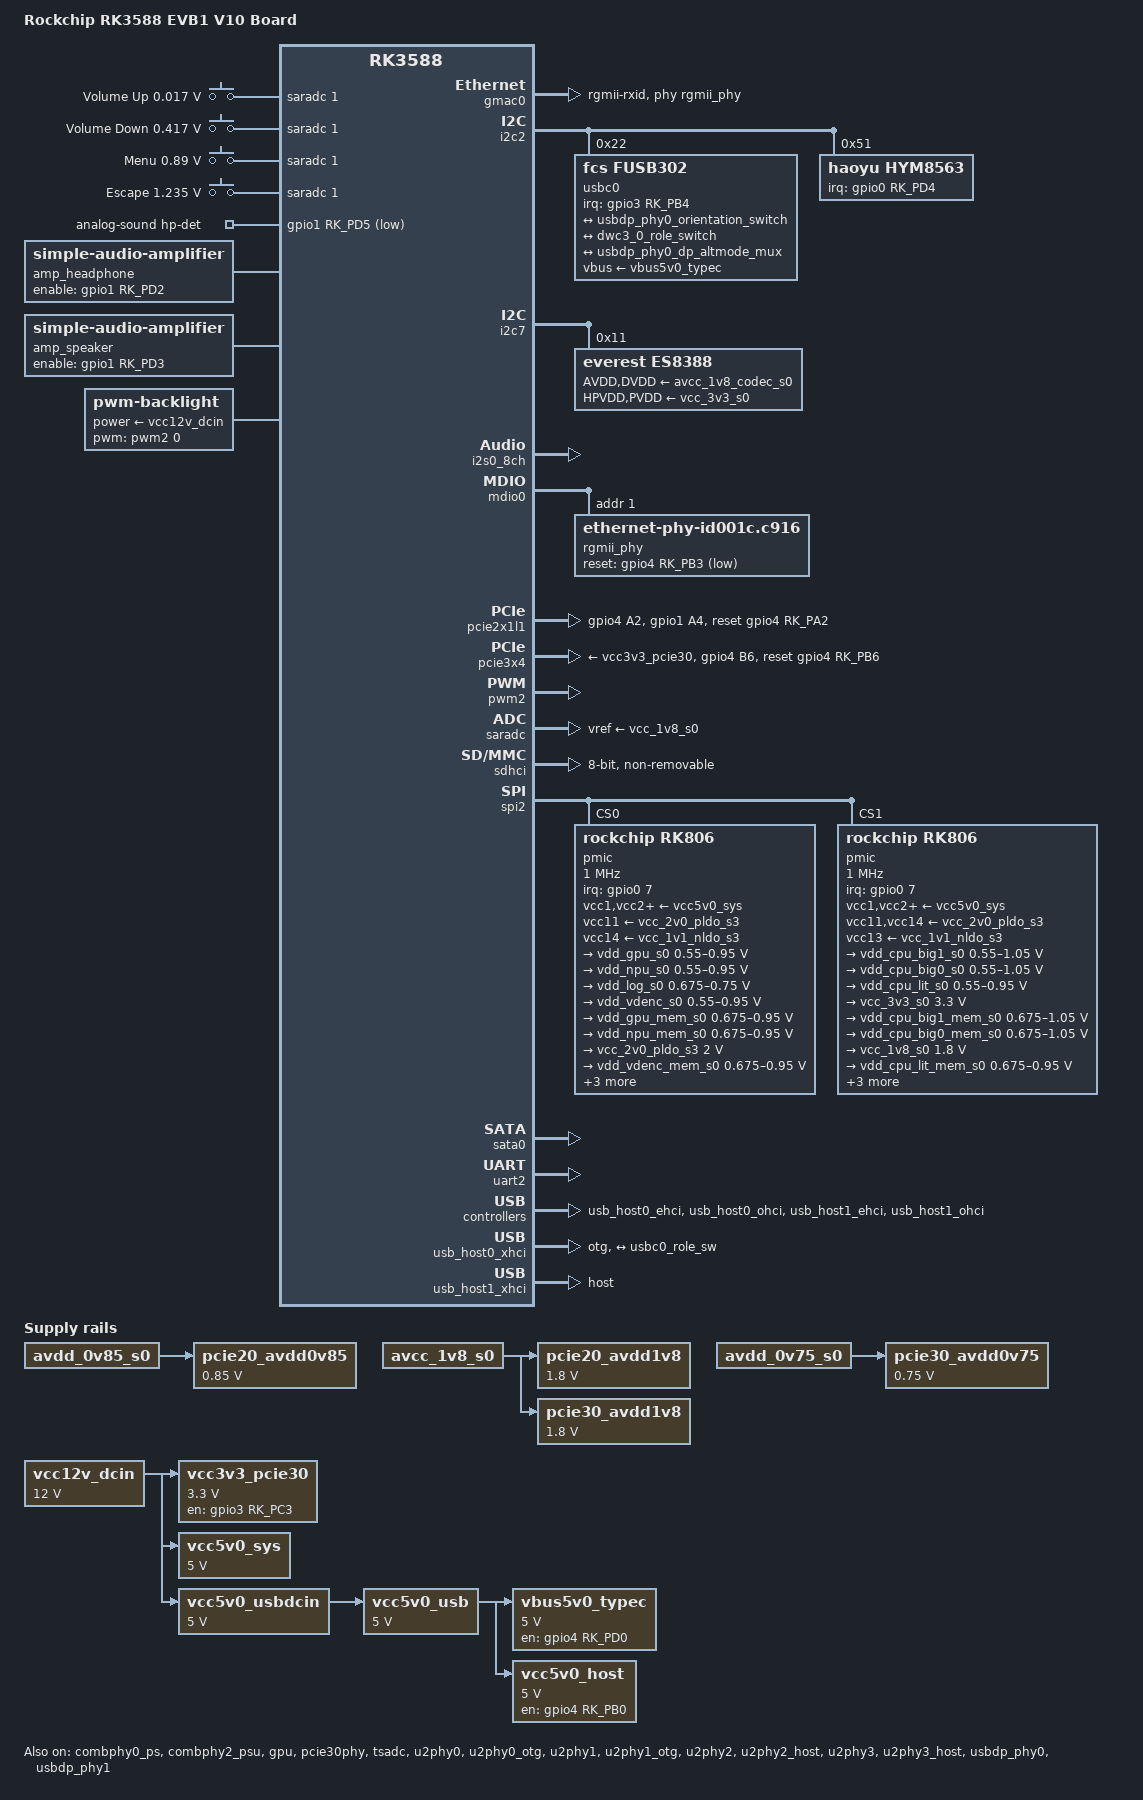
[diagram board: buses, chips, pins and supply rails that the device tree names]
// SPDX-License-Identifier: (GPL-2.0+ OR MIT)
/*
 * Copyright (c) 2021 Rockchip Electronics Co., Ltd.
 *
 */

/dts-v1/;

#include <dt-bindings/gpio/gpio.h>
#include <dt-bindings/input/input.h>
#include <dt-bindings/pinctrl/rockchip.h>
#include <dt-bindings/usb/pd.h>
#include "rk3588.dtsi"

/ {
	model = "Rockchip RK3588 EVB1 V10 Board";
	compatible = "rockchip,rk3588-evb1-v10", "rockchip,rk3588";

	aliases {
		ethernet0 = &gmac0;
		mmc0 = &sdhci;
	};

	chosen {
		stdout-path = "serial2:1500000n8";
	};

	adc-keys {
		compatible = "adc-keys";
		io-channels = <&saradc 1>;
		io-channel-names = "buttons";
		keyup-threshold-microvolt = <1800000>;
		poll-interval = <100>;

		button-vol-up {
			label = "Volume Up";
			linux,code = <KEY_VOLUMEUP>;
			press-threshold-microvolt = <17000>;
		};

		button-vol-down {
			label = "Volume Down";
			linux,code = <KEY_VOLUMEDOWN>;
			press-threshold-microvolt = <417000>;
		};

		button-menu {
			label = "Menu";
			linux,code = <KEY_MENU>;
			press-threshold-microvolt = <890000>;
		};

		button-escape {
			label = "Escape";
			linux,code = <KEY_ESC>;
			press-threshold-microvolt = <1235000>;
		};
	};

	analog-sound {
		compatible = "simple-audio-card";
		pinctrl-names = "default";
		pinctrl-0 = <&hp_detect>;
		simple-audio-card,name = "RK3588 EVB1 Audio";
		simple-audio-card,aux-devs = <&amp_headphone>, <&amp_speaker>;
		simple-audio-card,bitclock-master = <&masterdai>;
		simple-audio-card,format = "i2s";
		simple-audio-card,frame-master = <&masterdai>;
		simple-audio-card,hp-det-gpio = <&gpio1 RK_PD5 GPIO_ACTIVE_LOW>;
		simple-audio-card,mclk-fs = <256>;
		simple-audio-card,pin-switches = "Headphones", "Speaker";
		simple-audio-card,routing =
			"Speaker Amplifier INL", "LOUT2",
			"Speaker Amplifier INR", "ROUT2",
			"Speaker", "Speaker Amplifier OUTL",
			"Speaker", "Speaker Amplifier OUTR",
			"Headphones Amplifier INL", "LOUT1",
			"Headphones Amplifier INR", "ROUT1",
			"Headphones", "Headphones Amplifier OUTL",
			"Headphones", "Headphones Amplifier OUTR",
			"LINPUT1", "Onboard Microphone",
			"RINPUT1", "Onboard Microphone",
			"LINPUT2", "Microphone Jack",
			"RINPUT2", "Microphone Jack";
		simple-audio-card,widgets =
			"Microphone", "Microphone Jack",
			"Microphone", "Onboard Microphone",
			"Headphone", "Headphones",
			"Speaker", "Speaker";

		simple-audio-card,cpu {
			sound-dai = <&i2s0_8ch>;
		};

		masterdai: simple-audio-card,codec {
			sound-dai = <&es8388>;
			system-clock-frequency = <12288000>;
		};
	};

	amp_headphone: headphone-amplifier {
		compatible = "simple-audio-amplifier";
		enable-gpios = <&gpio1 RK_PD2 GPIO_ACTIVE_HIGH>;
		pinctrl-names = "default";
		pinctrl-0 = <&headphone_amplifier_en>;
		sound-name-prefix = "Headphones Amplifier";
	};

	amp_speaker: speaker-amplifier {
		compatible = "simple-audio-amplifier";
		enable-gpios = <&gpio1 RK_PD3 GPIO_ACTIVE_HIGH>;
		pinctrl-names = "default";
		pinctrl-0 = <&speaker_amplifier_en>;
		sound-name-prefix = "Speaker Amplifier";
	};

	backlight: backlight {
		compatible = "pwm-backlight";
		power-supply = <&vcc12v_dcin>;
		pwms = <&pwm2 0 25000 0>;
	};

	pcie20_avdd0v85: pcie20-avdd0v85-regulator {
		compatible = "regulator-fixed";
		regulator-name = "pcie20_avdd0v85";
		regulator-always-on;
		regulator-boot-on;
		regulator-min-microvolt = <850000>;
		regulator-max-microvolt = <850000>;
		vin-supply = <&avdd_0v85_s0>;
	};

	pcie20_avdd1v8: pcie20-avdd1v8-regulator {
		compatible = "regulator-fixed";
		regulator-name = "pcie20_avdd1v8";
		regulator-always-on;
		regulator-boot-on;
		regulator-min-microvolt = <1800000>;
		regulator-max-microvolt = <1800000>;
		vin-supply = <&avcc_1v8_s0>;
	};

	pcie30_avdd0v75: pcie30-avdd0v75-regulator {
		compatible = "regulator-fixed";
		regulator-name = "pcie30_avdd0v75";
		regulator-always-on;
		regulator-boot-on;
		regulator-min-microvolt = <750000>;
		regulator-max-microvolt = <750000>;
		vin-supply = <&avdd_0v75_s0>;
	};

	pcie30_avdd1v8: pcie30-avdd1v8-regulator {
		compatible = "regulator-fixed";
		regulator-name = "pcie30_avdd1v8";
		regulator-always-on;
		regulator-boot-on;
		regulator-min-microvolt = <1800000>;
		regulator-max-microvolt = <1800000>;
		vin-supply = <&avcc_1v8_s0>;
	};

	vbus5v0_typec: vbus5v0-typec-regulator {
		compatible = "regulator-fixed";
		enable-active-high;
		gpio = <&gpio4 RK_PD0 GPIO_ACTIVE_HIGH>;
		pinctrl-names = "default";
		pinctrl-0 = <&typec5v_pwren>;
		regulator-name = "vbus5v0_typec";
		regulator-min-microvolt = <5000000>;
		regulator-max-microvolt = <5000000>;
		vin-supply = <&vcc5v0_usb>;
	};

	vcc12v_dcin: vcc12v-dcin-regulator {
		compatible = "regulator-fixed";
		regulator-name = "vcc12v_dcin";
		regulator-always-on;
		regulator-boot-on;
		regulator-min-microvolt = <12000000>;
		regulator-max-microvolt = <12000000>;
	};

	vcc3v3_pcie30: vcc3v3-pcie30-regulator {
		compatible = "regulator-fixed";
		regulator-name = "vcc3v3_pcie30";
		regulator-min-microvolt = <3300000>;
		regulator-max-microvolt = <3300000>;
		enable-active-high;
		gpios = <&gpio3 RK_PC3 GPIO_ACTIVE_HIGH>;
		startup-delay-us = <5000>;
		vin-supply = <&vcc12v_dcin>;
		pinctrl-names = "default";
		pinctrl-0 = <&vcc3v3_pcie30_en>;
	};

	vcc5v0_host: vcc5v0-host-regulator {
		compatible = "regulator-fixed";
		regulator-name = "vcc5v0_host";
		regulator-boot-on;
		regulator-always-on;
		regulator-min-microvolt = <5000000>;
		regulator-max-microvolt = <5000000>;
		enable-active-high;
		gpio = <&gpio4 RK_PB0 GPIO_ACTIVE_HIGH>;
		pinctrl-names = "default";
		pinctrl-0 = <&vcc5v0_host_en>;
		vin-supply = <&vcc5v0_usb>;
	};

	vcc5v0_sys: vcc5v0-sys-regulator {
		compatible = "regulator-fixed";
		regulator-name = "vcc5v0_sys";
		regulator-always-on;
		regulator-boot-on;
		regulator-min-microvolt = <5000000>;
		regulator-max-microvolt = <5000000>;
		vin-supply = <&vcc12v_dcin>;
	};

	vcc5v0_usbdcin: vcc5v0-usbdcin-regulator {
		compatible = "regulator-fixed";
		regulator-name = "vcc5v0_usbdcin";
		regulator-always-on;
		regulator-boot-on;
		regulator-min-microvolt = <5000000>;
		regulator-max-microvolt = <5000000>;
		vin-supply = <&vcc12v_dcin>;
	};

	vcc5v0_usb: vcc5v0-usb-regulator {
		compatible = "regulator-fixed";
		regulator-name = "vcc5v0_usb";
		regulator-always-on;
		regulator-boot-on;
		regulator-min-microvolt = <5000000>;
		regulator-max-microvolt = <5000000>;
		vin-supply = <&vcc5v0_usbdcin>;
	};
};

&combphy0_ps {
	status = "okay";
};

&combphy2_psu {
	status = "okay";
};

&cpu_b0 {
	cpu-supply = <&vdd_cpu_big0_s0>;
};

&cpu_b1 {
	cpu-supply = <&vdd_cpu_big0_s0>;
};

&cpu_b2 {
	cpu-supply = <&vdd_cpu_big1_s0>;
};

&cpu_b3 {
	cpu-supply = <&vdd_cpu_big1_s0>;
};

&cpu_l0 {
	cpu-supply = <&vdd_cpu_lit_s0>;
};

&cpu_l1 {
	cpu-supply = <&vdd_cpu_lit_s0>;
};

&cpu_l2 {
	cpu-supply = <&vdd_cpu_lit_s0>;
};

&cpu_l3 {
	cpu-supply = <&vdd_cpu_lit_s0>;
};

&gmac0 {
	clock_in_out = "output";
	phy-handle = <&rgmii_phy>;
	phy-mode = "rgmii-rxid";
	pinctrl-0 = <&gmac0_miim
		     &gmac0_tx_bus2
		     &gmac0_rx_bus2
		     &gmac0_rgmii_clk
		     &gmac0_rgmii_bus>;
	pinctrl-names = "default";
	rx_delay = <0x00>;
	tx_delay = <0x43>;
	status = "okay";
};

&gpu {
	mali-supply = <&vdd_gpu_s0>;
	sram-supply = <&vdd_gpu_mem_s0>;
	status = "okay";
};

&i2c2 {
	status = "okay";

	usbc0: usb-typec@22 {
		compatible = "fcs,fusb302";
		reg = <0x22>;
		interrupt-parent = <&gpio3>;
		interrupts = <RK_PB4 IRQ_TYPE_LEVEL_LOW>;
		pinctrl-names = "default";
		pinctrl-0 = <&usbc0_int>;
		vbus-supply = <&vbus5v0_typec>;
		status = "okay";

		usb_con: connector {
			compatible = "usb-c-connector";
			label = "USB-C";
			data-role = "dual";
			op-sink-microwatt = <1000000>;
			power-role = "dual";
			sink-pdos =
				<PDO_FIXED(5000, 1000, PDO_FIXED_USB_COMM)>;
			source-pdos =
				<PDO_FIXED(5000, 3000, PDO_FIXED_USB_COMM)>;
			try-power-role = "source";

			ports {
				#address-cells = <1>;
				#size-cells = <0>;

				port@0 {
					reg = <0>;

					usbc0_orien_sw: endpoint {
						remote-endpoint = <&usbdp_phy0_orientation_switch>;
					};
				};

				port@1 {
					reg = <1>;

					usbc0_role_sw: endpoint {
						remote-endpoint = <&dwc3_0_role_switch>;
					};
				};

				port@2 {
					reg = <2>;

					dp_altmode_mux: endpoint {
						remote-endpoint = <&usbdp_phy0_dp_altmode_mux>;
					};
				};
			};
		};
	};

	hym8563: rtc@51 {
		compatible = "haoyu,hym8563";
		reg = <0x51>;
		#clock-cells = <0>;
		clock-output-names = "hym8563";
		pinctrl-names = "default";
		pinctrl-0 = <&hym8563_int>;
		interrupt-parent = <&gpio0>;
		interrupts = <RK_PD4 IRQ_TYPE_LEVEL_LOW>;
		wakeup-source;
	};
};

&i2c7 {
	status = "okay";

	es8388: audio-codec@11 {
		compatible = "everest,es8388";
		reg = <0x11>;
		clocks = <&cru I2S0_8CH_MCLKOUT>;
		assigned-clocks = <&cru I2S0_8CH_MCLKOUT>;
		assigned-clock-rates = <12288000>;
		AVDD-supply = <&avcc_1v8_codec_s0>;
		DVDD-supply = <&avcc_1v8_codec_s0>;
		HPVDD-supply = <&vcc_3v3_s0>;
		PVDD-supply = <&vcc_3v3_s0>;
		#sound-dai-cells = <0>;
	};
};

&i2s0_8ch {
	pinctrl-0 = <&i2s0_lrck
		     &i2s0_mclk
		     &i2s0_sclk
		     &i2s0_sdi0
		     &i2s0_sdo0>;
	status = "okay";
};

&mdio0 {
	rgmii_phy: ethernet-phy@1 {
		/* RTL8211F */
		compatible = "ethernet-phy-id001c.c916";
		reg = <0x1>;
		pinctrl-names = "default";
		pinctrl-0 = <&rtl8211f_rst>;
		reset-assert-us = <20000>;
		reset-deassert-us = <100000>;
		reset-gpios = <&gpio4 RK_PB3 GPIO_ACTIVE_LOW>;
	};
};

&pcie2x1l1 {
	reset-gpios = <&gpio4 RK_PA2 GPIO_ACTIVE_HIGH>;
	pinctrl-names = "default";
	pinctrl-0 = <&pcie2_1_rst>, <&rtl8111_isolate>;
	status = "okay";
};

&pcie30phy {
	status = "okay";
};

&pcie3x4 {
	pinctrl-names = "default";
	pinctrl-0 = <&pcie3_reset>;
	reset-gpios = <&gpio4 RK_PB6 GPIO_ACTIVE_HIGH>;
	vpcie3v3-supply = <&vcc3v3_pcie30>;
	status = "okay";
};

&pinctrl {
	audio {
		hp_detect: headphone-detect {
			rockchip,pins = <1 RK_PD5 RK_FUNC_GPIO &pcfg_pull_none>;
		};

		headphone_amplifier_en: headphone-amplifier-en {
			rockchip,pins = <1 RK_PD2 RK_FUNC_GPIO &pcfg_pull_none>;
		};

		speaker_amplifier_en: speaker-amplifier-en {
			rockchip,pins = <1 RK_PD3 RK_FUNC_GPIO &pcfg_pull_none>;
		};
	};

	rtl8111 {
		rtl8111_isolate: rtl8111-isolate {
			rockchip,pins = <1 RK_PA4 RK_FUNC_GPIO &pcfg_pull_up>;
		};
	};

	rtl8211f {
		rtl8211f_rst: rtl8211f-rst {
			rockchip,pins = <4 RK_PB3 RK_FUNC_GPIO &pcfg_pull_none>;
		};

	};

	hym8563 {
		hym8563_int: hym8563-int {
			rockchip,pins = <0 RK_PD4 RK_FUNC_GPIO &pcfg_pull_up>;
		};
	};

	pcie2 {
		pcie2_1_rst: pcie2-1-rst {
			rockchip,pins = <4 RK_PA2 RK_FUNC_GPIO &pcfg_pull_none>;
		};
	};

	pcie3 {
		pcie3_reset: pcie3-reset {
			rockchip,pins = <4 RK_PB6 RK_FUNC_GPIO &pcfg_pull_none>;
		};

		vcc3v3_pcie30_en: vcc3v3-pcie30-en {
			rockchip,pins = <3 RK_PC3 RK_FUNC_GPIO &pcfg_pull_none>;
		};
	};

	usb {
		vcc5v0_host_en: vcc5v0-host-en {
			rockchip,pins = <4 RK_PB0 RK_FUNC_GPIO &pcfg_pull_none>;
		};
	};

	usb-typec {
		typec5v_pwren: typec5v-pwren {
			rockchip,pins = <4 RK_PD0 RK_FUNC_GPIO &pcfg_pull_none>;
		};

		usbc0_int: usbc0-int {
			rockchip,pins = <3 RK_PB4 RK_FUNC_GPIO &pcfg_pull_up>;
		};
	};
};

&pwm2 {
	status = "okay";
};

&saradc {
	vref-supply = <&vcc_1v8_s0>;
	status = "okay";
};

&sdhci {
	bus-width = <8>;
	no-sdio;
	no-sd;
	non-removable;
	mmc-hs400-1_8v;
	mmc-hs400-enhanced-strobe;
	status = "okay";
};

&spi2 {
	status = "okay";
	assigned-clocks = <&cru CLK_SPI2>;
	assigned-clock-rates = <200000000>;
	num-cs = <2>;

	pmic@0 {
		compatible = "rockchip,rk806";
		reg = <0x0>;
		#gpio-cells = <2>;
		gpio-controller;
		interrupt-parent = <&gpio0>;
		interrupts = <7 IRQ_TYPE_LEVEL_LOW>;
		pinctrl-0 = <&pmic_pins>, <&rk806_dvs1_null>,
			    <&rk806_dvs2_null>, <&rk806_dvs3_null>;
		pinctrl-names = "default";
		spi-max-frequency = <1000000>;
		system-power-controller;

		vcc1-supply = <&vcc5v0_sys>;
		vcc2-supply = <&vcc5v0_sys>;
		vcc3-supply = <&vcc5v0_sys>;
		vcc4-supply = <&vcc5v0_sys>;
		vcc5-supply = <&vcc5v0_sys>;
		vcc6-supply = <&vcc5v0_sys>;
		vcc7-supply = <&vcc5v0_sys>;
		vcc8-supply = <&vcc5v0_sys>;
		vcc9-supply = <&vcc5v0_sys>;
		vcc10-supply = <&vcc5v0_sys>;
		vcc11-supply = <&vcc_2v0_pldo_s3>;
		vcc12-supply = <&vcc5v0_sys>;
		vcc13-supply = <&vcc5v0_sys>;
		vcc14-supply = <&vcc_1v1_nldo_s3>;
		vcca-supply = <&vcc5v0_sys>;

		rk806_dvs1_null: dvs1-null-pins {
			pins = "gpio_pwrctrl1";
			function = "pin_fun0";
		};

		rk806_dvs2_null: dvs2-null-pins {
			pins = "gpio_pwrctrl2";
			function = "pin_fun0";
		};

		rk806_dvs3_null: dvs3-null-pins {
			pins = "gpio_pwrctrl3";
			function = "pin_fun0";
		};


		regulators {
			vdd_gpu_s0: dcdc-reg1 {
				/* regulator coupling requires always-on */
				regulator-always-on;
				regulator-boot-on;
				regulator-min-microvolt = <550000>;
				regulator-max-microvolt = <950000>;
				regulator-ramp-delay = <12500>;
				regulator-name = "vdd_gpu_s0";
				regulator-enable-ramp-delay = <400>;
				regulator-coupled-with = <&vdd_gpu_mem_s0>;
				regulator-coupled-max-spread = <10000>;
				regulator-state-mem {
					regulator-off-in-suspend;
				};
			};

			vdd_npu_s0: dcdc-reg2 {
				regulator-always-on;
				regulator-boot-on;
				regulator-min-microvolt = <550000>;
				regulator-max-microvolt = <950000>;
				regulator-ramp-delay = <12500>;
				regulator-name = "vdd_npu_s0";
				regulator-state-mem {
					regulator-off-in-suspend;
				};
			};

			vdd_log_s0: dcdc-reg3 {
				regulator-always-on;
				regulator-boot-on;
				regulator-min-microvolt = <675000>;
				regulator-max-microvolt = <750000>;
				regulator-ramp-delay = <12500>;
				regulator-name = "vdd_log_s0";
				regulator-state-mem {
					regulator-off-in-suspend;
					regulator-suspend-microvolt = <750000>;
				};
			};

			vdd_vdenc_s0: dcdc-reg4 {
				regulator-always-on;
				regulator-boot-on;
				regulator-min-microvolt = <550000>;
				regulator-max-microvolt = <950000>;
				regulator-ramp-delay = <12500>;
				regulator-name = "vdd_vdenc_s0";
				regulator-state-mem {
					regulator-off-in-suspend;
				};

			};

			vdd_gpu_mem_s0: dcdc-reg5 {
				/* regulator coupling requires always-on */
				regulator-always-on;
				regulator-boot-on;
				regulator-min-microvolt = <675000>;
				regulator-max-microvolt = <950000>;
				regulator-ramp-delay = <12500>;
				regulator-enable-ramp-delay = <400>;
				regulator-name = "vdd_gpu_mem_s0";
				regulator-coupled-with = <&vdd_gpu_s0>;
				regulator-coupled-max-spread = <10000>;
				regulator-state-mem {
					regulator-off-in-suspend;
				};

			};

			vdd_npu_mem_s0: dcdc-reg6 {
				regulator-always-on;
				regulator-boot-on;
				regulator-min-microvolt = <675000>;
				regulator-max-microvolt = <950000>;
				regulator-ramp-delay = <12500>;
				regulator-name = "vdd_npu_mem_s0";
				regulator-state-mem {
					regulator-off-in-suspend;
				};

			};

			vcc_2v0_pldo_s3: dcdc-reg7 {
				regulator-always-on;
				regulator-boot-on;
				regulator-min-microvolt = <2000000>;
				regulator-max-microvolt = <2000000>;
				regulator-ramp-delay = <12500>;
				regulator-name = "vdd_2v0_pldo_s3";
				regulator-state-mem {
					regulator-on-in-suspend;
					regulator-suspend-microvolt = <2000000>;
				};
			};

			vdd_vdenc_mem_s0: dcdc-reg8 {
				regulator-always-on;
				regulator-boot-on;
				regulator-min-microvolt = <675000>;
				regulator-max-microvolt = <950000>;
				regulator-ramp-delay = <12500>;
				regulator-name = "vdd_vdenc_mem_s0";
				regulator-state-mem {
					regulator-off-in-suspend;
				};
			};

			vdd2_ddr_s3: dcdc-reg9 {
				regulator-always-on;
				regulator-boot-on;
				regulator-name = "vdd2_ddr_s3";
				regulator-state-mem {
					regulator-on-in-suspend;
				};
			};

			vcc_1v1_nldo_s3: dcdc-reg10 {
				regulator-always-on;
				regulator-boot-on;
				regulator-min-microvolt = <1100000>;
				regulator-max-microvolt = <1100000>;
				regulator-ramp-delay = <12500>;
				regulator-name = "vcc_1v1_nldo_s3";
				regulator-state-mem {
					regulator-on-in-suspend;
					regulator-suspend-microvolt = <1100000>;
				};
			};

			avcc_1v8_s0: pldo-reg1 {
				regulator-always-on;
				regulator-boot-on;
				regulator-min-microvolt = <1800000>;
				regulator-max-microvolt = <1800000>;
				regulator-ramp-delay = <12500>;
				regulator-name = "avcc_1v8_s0";
				regulator-state-mem {
					regulator-off-in-suspend;
				};
			};

			vdd1_1v8_ddr_s3: pldo-reg2 {
				regulator-always-on;
				regulator-boot-on;
				regulator-min-microvolt = <1800000>;
				regulator-max-microvolt = <1800000>;
				regulator-ramp-delay = <12500>;
				regulator-name = "vdd1_1v8_ddr_s3";
				regulator-state-mem {
					regulator-on-in-suspend;
					regulator-suspend-microvolt = <1800000>;
				};
			};

			avcc_1v8_codec_s0: pldo-reg3 {
				regulator-always-on;
				regulator-boot-on;
				regulator-min-microvolt = <1800000>;
				regulator-max-microvolt = <1800000>;
				regulator-ramp-delay = <12500>;
				regulator-name = "avcc_1v8_codec_s0";
				regulator-state-mem {
					regulator-off-in-suspend;
				};
			};

			vcc_3v3_s3: pldo-reg4 {
				regulator-always-on;
				regulator-boot-on;
				regulator-min-microvolt = <3300000>;
				regulator-max-microvolt = <3300000>;
				regulator-ramp-delay = <12500>;
				regulator-name = "vcc_3v3_s3";
				regulator-state-mem {
					regulator-on-in-suspend;
					regulator-suspend-microvolt = <3300000>;
				};
			};

			vccio_sd_s0: pldo-reg5 {
				regulator-always-on;
				regulator-boot-on;
				regulator-min-microvolt = <1800000>;
				regulator-max-microvolt = <3300000>;
				regulator-ramp-delay = <12500>;
				regulator-name = "vccio_sd_s0";
				regulator-state-mem {
					regulator-off-in-suspend;
				};
			};

			vccio_1v8_s3: pldo-reg6 {
				regulator-always-on;
				regulator-boot-on;
				regulator-min-microvolt = <1800000>;
				regulator-max-microvolt = <1800000>;
				regulator-ramp-delay = <12500>;
				regulator-name = "vccio_1v8_s3";
				regulator-state-mem {
					regulator-on-in-suspend;
					regulator-suspend-microvolt = <1800000>;
				};
			};

			vdd_0v75_s3: nldo-reg1 {
				regulator-always-on;
				regulator-boot-on;
				regulator-min-microvolt = <750000>;
				regulator-max-microvolt = <750000>;
				regulator-ramp-delay = <12500>;
				regulator-name = "vdd_0v75_s3";
				regulator-state-mem {
					regulator-on-in-suspend;
					regulator-suspend-microvolt = <750000>;
				};
			};

			vdd2l_0v9_ddr_s3: nldo-reg2 {
				regulator-always-on;
				regulator-boot-on;
				regulator-min-microvolt = <900000>;
				regulator-max-microvolt = <900000>;
				regulator-name = "vdd2l_0v9_ddr_s3";
				regulator-state-mem {
					regulator-on-in-suspend;
					regulator-suspend-microvolt = <900000>;
				};
			};

			vdd_0v75_hdmi_edp_s0: nldo-reg3 {
				regulator-always-on;
				regulator-boot-on;
				regulator-min-microvolt = <750000>;
				regulator-max-microvolt = <750000>;
				regulator-name = "vdd_0v75_hdmi_edp_s0";
				regulator-state-mem {
					regulator-off-in-suspend;
				};
			};

			avdd_0v75_s0: nldo-reg4 {
				regulator-always-on;
				regulator-boot-on;
				regulator-min-microvolt = <750000>;
				regulator-max-microvolt = <750000>;
				regulator-name = "avdd_0v75_s0";
				regulator-state-mem {
					regulator-off-in-suspend;
				};
			};

			vdd_0v85_s0: nldo-reg5 {
				regulator-always-on;
				regulator-boot-on;
				regulator-min-microvolt = <850000>;
				regulator-max-microvolt = <850000>;
				regulator-name = "vdd_0v85_s0";
				regulator-state-mem {
					regulator-off-in-suspend;
				};
			};
		};
	};

	pmic@1 {
		compatible = "rockchip,rk806";
		reg = <0x01>;
		#gpio-cells = <2>;
		gpio-controller;
		interrupt-parent = <&gpio0>;
		interrupts = <7 IRQ_TYPE_LEVEL_LOW>;
		pinctrl-0 = <&rk806_slave_dvs1_null>, <&rk806_slave_dvs2_null>,
			    <&rk806_slave_dvs3_null>;
		pinctrl-names = "default";
		spi-max-frequency = <1000000>;

		vcc1-supply = <&vcc5v0_sys>;
		vcc2-supply = <&vcc5v0_sys>;
		vcc3-supply = <&vcc5v0_sys>;
		vcc4-supply = <&vcc5v0_sys>;
		vcc5-supply = <&vcc5v0_sys>;
		vcc6-supply = <&vcc5v0_sys>;
		vcc7-supply = <&vcc5v0_sys>;
		vcc8-supply = <&vcc5v0_sys>;
		vcc9-supply = <&vcc5v0_sys>;
		vcc10-supply = <&vcc5v0_sys>;
		vcc11-supply = <&vcc_2v0_pldo_s3>;
		vcc12-supply = <&vcc5v0_sys>;
		vcc13-supply = <&vcc_1v1_nldo_s3>;
		vcc14-supply = <&vcc_2v0_pldo_s3>;
		vcca-supply = <&vcc5v0_sys>;

		rk806_slave_dvs1_null: dvs1-null-pins {
			pins = "gpio_pwrctrl1";
			function = "pin_fun0";
		};

		rk806_slave_dvs2_null: dvs2-null-pins {
			pins = "gpio_pwrctrl2";
			function = "pin_fun0";
		};

		rk806_slave_dvs3_null: dvs3-null-pins {
			pins = "gpio_pwrctrl3";
			function = "pin_fun0";
		};

		regulators {
			vdd_cpu_big1_s0: dcdc-reg1 {
				regulator-always-on;
				regulator-boot-on;
				regulator-coupled-with = <&vdd_cpu_big1_mem_s0>;
				regulator-coupled-max-spread = <10000>;
				regulator-min-microvolt = <550000>;
				regulator-max-microvolt = <1050000>;
				regulator-ramp-delay = <12500>;
				regulator-name = "vdd_cpu_big1_s0";
				regulator-state-mem {
					regulator-off-in-suspend;
				};
			};

			vdd_cpu_big0_s0: dcdc-reg2 {
				regulator-always-on;
				regulator-boot-on;
				regulator-coupled-with = <&vdd_cpu_big0_mem_s0>;
				regulator-coupled-max-spread = <10000>;
				regulator-min-microvolt = <550000>;
				regulator-max-microvolt = <1050000>;
				regulator-ramp-delay = <12500>;
				regulator-name = "vdd_cpu_big0_s0";
				regulator-state-mem {
					regulator-off-in-suspend;
				};
			};

			vdd_cpu_lit_s0: dcdc-reg3 {
				regulator-always-on;
				regulator-boot-on;
				regulator-coupled-with = <&vdd_cpu_lit_mem_s0>;
				regulator-coupled-max-spread = <10000>;
				regulator-min-microvolt = <550000>;
				regulator-max-microvolt = <950000>;
				regulator-ramp-delay = <12500>;
				regulator-name = "vdd_cpu_lit_s0";
				regulator-state-mem {
					regulator-off-in-suspend;
				};
			};

			vcc_3v3_s0: dcdc-reg4 {
				regulator-always-on;
				regulator-boot-on;
				regulator-min-microvolt = <3300000>;
				regulator-max-microvolt = <3300000>;
				regulator-ramp-delay = <12500>;
				regulator-name = "vcc_3v3_s0";
				regulator-state-mem {
					regulator-off-in-suspend;
				};
			};

			vdd_cpu_big1_mem_s0: dcdc-reg5 {
				regulator-always-on;
				regulator-boot-on;
				regulator-coupled-with = <&vdd_cpu_big1_s0>;
				regulator-coupled-max-spread = <10000>;
				regulator-min-microvolt = <675000>;
				regulator-max-microvolt = <1050000>;
				regulator-ramp-delay = <12500>;
				regulator-name = "vdd_cpu_big1_mem_s0";
				regulator-state-mem {
					regulator-off-in-suspend;
				};
			};


			vdd_cpu_big0_mem_s0: dcdc-reg6 {
				regulator-always-on;
				regulator-boot-on;
				regulator-coupled-with = <&vdd_cpu_big0_s0>;
				regulator-coupled-max-spread = <10000>;
				regulator-min-microvolt = <675000>;
				regulator-max-microvolt = <1050000>;
				regulator-ramp-delay = <12500>;
				regulator-name = "vdd_cpu_big0_mem_s0";
				regulator-state-mem {
					regulator-off-in-suspend;
				};
			};

			vcc_1v8_s0: dcdc-reg7 {
				regulator-always-on;
				regulator-boot-on;
				regulator-min-microvolt = <1800000>;
				regulator-max-microvolt = <1800000>;
				regulator-ramp-delay = <12500>;
				regulator-name = "vcc_1v8_s0";
				regulator-state-mem {
					regulator-off-in-suspend;
				};
			};

			vdd_cpu_lit_mem_s0: dcdc-reg8 {
				regulator-always-on;
				regulator-boot-on;
				regulator-coupled-with = <&vdd_cpu_lit_s0>;
				regulator-coupled-max-spread = <10000>;
				regulator-min-microvolt = <675000>;
				regulator-max-microvolt = <950000>;
				regulator-ramp-delay = <12500>;
				regulator-name = "vdd_cpu_lit_mem_s0";
				regulator-state-mem {
					regulator-off-in-suspend;
				};
			};

			vddq_ddr_s0: dcdc-reg9 {
				regulator-always-on;
				regulator-boot-on;
				regulator-name = "vddq_ddr_s0";
				regulator-state-mem {
					regulator-off-in-suspend;
				};
			};

			vdd_ddr_s0: dcdc-reg10 {
				regulator-always-on;
				regulator-boot-on;
				regulator-min-microvolt = <675000>;
				regulator-max-microvolt = <900000>;
				regulator-ramp-delay = <12500>;
				regulator-name = "vdd_ddr_s0";
				regulator-state-mem {
					regulator-off-in-suspend;
				};
			};

			vcc_1v8_cam_s0: pldo-reg1 {
				regulator-always-on;
				regulator-boot-on;
				regulator-min-microvolt = <1800000>;
				regulator-max-microvolt = <1800000>;
				regulator-ramp-delay = <12500>;
				regulator-name = "vcc_1v8_cam_s0";
				regulator-state-mem {
					regulator-off-in-suspend;
				};
			};

			avdd1v8_ddr_pll_s0: pldo-reg2 {
				regulator-always-on;
				regulator-boot-on;
				regulator-min-microvolt = <1800000>;
				regulator-max-microvolt = <1800000>;
				regulator-ramp-delay = <12500>;
				regulator-name = "avdd1v8_ddr_pll_s0";
				regulator-state-mem {
					regulator-off-in-suspend;
				};
			};

			vdd_1v8_pll_s0: pldo-reg3 {
				regulator-always-on;
				regulator-boot-on;
				regulator-min-microvolt = <1800000>;
				regulator-max-microvolt = <1800000>;
				regulator-ramp-delay = <12500>;
				regulator-name = "vdd_1v8_pll_s0";
				regulator-state-mem {
					regulator-off-in-suspend;
				};
			};

			vcc_3v3_sd_s0: pldo-reg4 {
				regulator-always-on;
				regulator-boot-on;
				regulator-min-microvolt = <3300000>;
				regulator-max-microvolt = <3300000>;
				regulator-ramp-delay = <12500>;
				regulator-name = "vcc_3v3_sd_s0";
				regulator-state-mem {
					regulator-off-in-suspend;
				};
			};

			vcc_2v8_cam_s0: pldo-reg5 {
				regulator-always-on;
				regulator-boot-on;
				regulator-min-microvolt = <2800000>;
				regulator-max-microvolt = <2800000>;
				regulator-ramp-delay = <12500>;
				regulator-name = "vcc_2v8_cam_s0";
				regulator-state-mem {
					regulator-off-in-suspend;
				};
			};

			pldo6_s3: pldo-reg6 {
				regulator-always-on;
				regulator-boot-on;
				regulator-min-microvolt = <1800000>;
				regulator-max-microvolt = <1800000>;
				regulator-name = "pldo6_s3";
				regulator-state-mem {
					regulator-on-in-suspend;
					regulator-suspend-microvolt = <1800000>;
				};
			};

			vdd_0v75_pll_s0: nldo-reg1 {
				regulator-always-on;
				regulator-boot-on;
				regulator-min-microvolt = <750000>;
				regulator-max-microvolt = <750000>;
				regulator-ramp-delay = <12500>;
				regulator-name = "vdd_0v75_pll_s0";
				regulator-state-mem {
					regulator-off-in-suspend;
				};
			};

			vdd_ddr_pll_s0: nldo-reg2 {
				regulator-always-on;
				regulator-boot-on;
				regulator-min-microvolt = <850000>;
				regulator-max-microvolt = <850000>;
				regulator-name = "vdd_ddr_pll_s0";
				regulator-state-mem {
					regulator-off-in-suspend;
				};
			};

			avdd_0v85_s0: nldo-reg3 {
				regulator-always-on;
				regulator-boot-on;
				regulator-min-microvolt = <850000>;
				regulator-max-microvolt = <850000>;
				regulator-ramp-delay = <12500>;
				regulator-name = "avdd_0v85_s0";
				regulator-state-mem {
					regulator-off-in-suspend;
				};
			};

			avdd_1v2_cam_s0: nldo-reg4 {
				regulator-always-on;
				regulator-boot-on;
				regulator-min-microvolt = <1200000>;
				regulator-max-microvolt = <1200000>;
				regulator-ramp-delay = <12500>;
				regulator-name = "avdd_1v2_cam_s0";
				regulator-state-mem {
					regulator-off-in-suspend;
				};
			};

			avdd_1v2_s0: nldo-reg5 {
				regulator-always-on;
				regulator-boot-on;
				regulator-min-microvolt = <1200000>;
				regulator-max-microvolt = <1200000>;
				regulator-ramp-delay = <12500>;
				regulator-name = "avdd_1v2_s0";
				regulator-state-mem {
					regulator-off-in-suspend;
				};
			};
		};
	};
};

&sata0 {
	status = "okay";
};

&tsadc {
	status = "okay";
};

&u2phy0 {
	status = "okay";
};

&u2phy0_otg {
	status = "okay";
};

&u2phy1 {
	status = "okay";
};

&u2phy1_otg {
	status = "okay";
};

&u2phy2 {
	status = "okay";
};

&u2phy2_host {
	phy-supply = <&vcc5v0_host>;
	status = "okay";
};

&u2phy3 {
	status = "okay";
};

&u2phy3_host {
	phy-supply = <&vcc5v0_host>;
	status = "okay";
};

&uart2 {
	pinctrl-0 = <&uart2m0_xfer>;
	status = "okay";
};

&usb_host0_ehci {
	status = "okay";
};

&usb_host0_ohci {
	status = "okay";
};

&usb_host1_ehci {
	status = "okay";
};

&usb_host1_ohci {
	status = "okay";
};

&usbdp_phy0 {
	mode-switch;
	orientation-switch;
	sbu1-dc-gpios = <&gpio4 RK_PA6 GPIO_ACTIVE_HIGH>;
	sbu2-dc-gpios = <&gpio4 RK_PA7 GPIO_ACTIVE_HIGH>;
	status = "okay";

	port {
		#address-cells = <1>;
		#size-cells = <0>;

		usbdp_phy0_orientation_switch: endpoint@0 {
			reg = <0>;
			remote-endpoint = <&usbc0_orien_sw>;
		};

		usbdp_phy0_dp_altmode_mux: endpoint@1 {
			reg = <1>;
			remote-endpoint = <&dp_altmode_mux>;
		};
	};
};

&usbdp_phy1 {
	/*
	 * USBDP PHY1 is wired to a female USB3 Type-A connector. Additionally
	 * the differential pairs 2+3 and the aux channel are wired to a RTD2166,
	 * which converts the DP signal into VGA. This is exposed on the
	 * board via a female VGA connector.
	 */
	rockchip,dp-lane-mux = <2 3>;
	status = "okay";
};

&usb_host0_xhci {
	dr_mode = "otg";
	usb-role-switch;
	status = "okay";

	port {
		#address-cells = <1>;
		#size-cells = <0>;

		dwc3_0_role_switch: endpoint@0 {
			reg = <0>;
			remote-endpoint = <&usbc0_role_sw>;
		};
	};
};

&usb_host1_xhci {
	dr_mode = "host";
	status = "okay";
};
